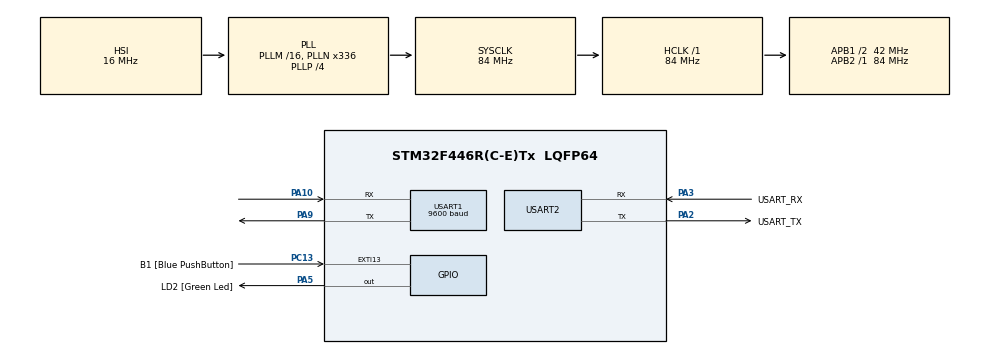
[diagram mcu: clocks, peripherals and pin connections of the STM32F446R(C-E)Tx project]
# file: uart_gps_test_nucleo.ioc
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Dma.Request0=USART1_RX
Dma.USART1_RX.0.Direction=DMA_PERIPH_TO_MEMORY
Dma.USART1_RX.0.FIFOMode=DMA_FIFOMODE_DISABLE
Dma.USART1_RX.0.Instance=DMA2_Stream2
Dma.USART1_RX.0.MemDataAlignment=DMA_MDATAALIGN_BYTE
Dma.USART1_RX.0.MemInc=DMA_MINC_ENABLE
Dma.USART1_RX.0.Mode=DMA_NORMAL
Dma.USART1_RX.0.PeriphDataAlignment=DMA_PDATAALIGN_BYTE
Dma.USART1_RX.0.PeriphInc=DMA_PINC_DISABLE
Dma.USART1_RX.0.Priority=DMA_PRIORITY_LOW
Mcu.Family=STM32F4
Mcu.Name=STM32F446R(C-E)Tx
Mcu.Package=LQFP64
NVIC.DMA2_Stream2_IRQn=true\:0\:0\:false\:false\:true\:false\:true
NVIC.PriorityGroup=NVIC_PRIORITYGROUP_0
PA10.Mode=Asynchronous
PA10.Signal=USART1_RX
PA13.GPIO_Label=TMS
PA13.Mode=Serial_Wire
PA13.Signal=SYS_JTMS-SWDIO
PA14.GPIO_Label=TCK
PA14.Mode=Serial_Wire
PA14.Signal=SYS_JTCK-SWCLK
PA2.GPIO_Label=USART_TX
PA2.Mode=Asynchronous
PA2.Signal=USART2_TX
PA3.GPIO_Label=USART_RX
PA3.Mode=Asynchronous
PA3.Signal=USART2_RX
PA5.GPIO_Label=LD2 [Green Led]
PA5.Signal=GPIO_Output
PA9.Mode=Asynchronous
PA9.Signal=USART1_TX
PB3.GPIO_Label=SWO
PB3.Signal=SYS_JTDO-SWO
PC13.GPIO_Label=B1 [Blue PushButton]
PC13.GPIO_ModeDefaultEXTI=GPIO_MODE_IT_FALLING
PC13.Signal=GPXTI13
PC14-OSC32_IN.Mode=LSE-External-Oscillator
PC14-OSC32_IN.Signal=RCC_OSC32_IN
PC15-OSC32_OUT.Mode=LSE-External-Oscillator
PC15-OSC32_OUT.Signal=RCC_OSC32_OUT
PH0-OSC_IN.Mode=HSE-External-Oscillator
PH0-OSC_IN.Signal=RCC_OSC_IN
PH1-OSC_OUT.Mode=HSE-External-Oscillator
PH1-OSC_OUT.Signal=RCC_OSC_OUT
ProjectManager.HeapSize=0x200
ProjectManager.StackSize=0x400
ProjectManager.TargetToolchain=STM32CubeIDE
RCC.48MHZClocksFreq_Value=84000000
RCC.AHBFreq_Value=84000000
RCC.APB1CLKDivider=RCC_HCLK_DIV2
RCC.APB1Freq_Value=42000000
RCC.APB1TimFreq_Value=84000000
RCC.APB2Freq_Value=84000000
RCC.APB2TimFreq_Value=84000000
RCC.CortexFreq_Value=84000000
RCC.FLatency-AdvancedSettings=FLASH_LATENCY_2
RCC.HCLKFreq_Value=84000000
RCC.HSE_VALUE=8000000
RCC.HSI_VALUE=16000000
RCC.PLLN=336
RCC.PLLP=RCC_PLLP_DIV4
RCC.SYSCLKFreq_VALUE=84000000
RCC.SYSCLKSource=RCC_SYSCLKSOURCE_PLLCLK
RCC.USBFreq_Value=168000000
RCC.VCOOutputFreq_Value=336000000
USART1.BaudRate=9600
USART1.VirtualMode=VM_ASYNC
USART2.VirtualMode=VM_ASYNC
board=NUCLEO-F446RE

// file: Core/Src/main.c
/* USER CODE BEGIN Header */
/**
  ******************************************************************************
  * @file           : main.c
  * @brief          : Main program body
  ******************************************************************************
  * @attention
  *
  * Copyright (c) 2022 STMicroelectronics.
  * All rights reserved.
  *
  * This software is licensed under terms that can be found in the LICENSE file
  * in the root directory of this software component.
  * If no LICENSE file comes with this software, it is provided AS-IS.
  *
  ******************************************************************************
  */
/* USER CODE END Header */
#include "main.h"

/* USER CODE BEGIN Includes */
#include <string.h>
#include <stdio.h>

/* USER CODE END Includes */

/* USER CODE BEGIN PD */
#define RX_BUFFER_SIZE 500
/* USER CODE END PD */

UART_HandleTypeDef huart1;
UART_HandleTypeDef huart2;
DMA_HandleTypeDef hdma_usart1_rx;

void SystemClock_Config(void);
static void MX_GPIO_Init(void);
static void MX_USART2_UART_Init(void);
static void MX_DMA_Init(void);
static void MX_USART1_UART_Init(void);

/* USER CODE BEGIN 0 */
uint8_t rxBuffer[RX_BUFFER_SIZE];
char uartBuffer[200];
char temp[RX_BUFFER_SIZE];

/* USER CODE END 0 */

int main(void)
{

  /* MCU Configuration--------------------------------------------------------*/

  /* Reset of all peripherals, Initializes the Flash interface and the Systick. */
  HAL_Init();

  /* Configure the system clock */
  SystemClock_Config();

  /* Initialize all configured peripherals */
  MX_GPIO_Init();
  MX_USART2_UART_Init();
  MX_DMA_Init();
  MX_USART1_UART_Init();
  /* USER CODE BEGIN 2 */
  HAL_UART_Receive_DMA(&huart1, rxBuffer, RX_BUFFER_SIZE);
  /* USER CODE END 2 */

  /* Infinite loop */
  /* USER CODE BEGIN WHILE */
  while (1)
  {
//	  sprintf(uartBuffer, "Hello\r\n");
//	  HAL_UART_Transmit(&huart2, (uint8_t*) uartBuffer, strlen(uartBuffer), HAL_MAX_DELAY);
//	  HAL_Delay(400);
//
//	  HAL_UART_Receive (&huart1, rxBuffer, 200, 5000);
//	  HAL_Delay(400);
//	  HAL_UART_Transmit(&huart2, rxBuffer, 200, HAL_MAX_DELAY);
//	  HAL_Delay(400);
    /* USER CODE END WHILE */

  }
}

void SystemClock_Config(void)
{
  RCC_OscInitTypeDef RCC_OscInitStruct = {0};
  RCC_ClkInitTypeDef RCC_ClkInitStruct = {0};

  /** Configure the main internal regulator output voltage
  */
  __HAL_RCC_PWR_CLK_ENABLE();
  __HAL_PWR_VOLTAGESCALING_CONFIG(PWR_REGULATOR_VOLTAGE_SCALE3);
  /** Initializes the RCC Oscillators according to the specified parameters
  * in the RCC_OscInitTypeDef structure.
  */
  RCC_OscInitStruct.OscillatorType = RCC_OSCILLATORTYPE_HSI;
  RCC_OscInitStruct.HSIState = RCC_HSI_ON;
  RCC_OscInitStruct.HSICalibrationValue = RCC_HSICALIBRATION_DEFAULT;
  RCC_OscInitStruct.PLL.PLLState = RCC_PLL_ON;
  RCC_OscInitStruct.PLL.PLLSource = RCC_PLLSOURCE_HSI;
  RCC_OscInitStruct.PLL.PLLM = 16;
  RCC_OscInitStruct.PLL.PLLN = 336;
  RCC_OscInitStruct.PLL.PLLP = RCC_PLLP_DIV4;
  RCC_OscInitStruct.PLL.PLLQ = 2;
  RCC_OscInitStruct.PLL.PLLR = 2;
  if (HAL_RCC_OscConfig(&RCC_OscInitStruct) != HAL_OK)
  {
    Error_Handler();
  }
  /** Initializes the CPU, AHB and APB buses clocks
  */
  RCC_ClkInitStruct.ClockType = RCC_CLOCKTYPE_HCLK|RCC_CLOCKTYPE_SYSCLK
                              |RCC_CLOCKTYPE_PCLK1|RCC_CLOCKTYPE_PCLK2;
  RCC_ClkInitStruct.SYSCLKSource = RCC_SYSCLKSOURCE_PLLCLK;
  RCC_ClkInitStruct.AHBCLKDivider = RCC_SYSCLK_DIV1;
  RCC_ClkInitStruct.APB1CLKDivider = RCC_HCLK_DIV2;
  RCC_ClkInitStruct.APB2CLKDivider = RCC_HCLK_DIV1;

  if (HAL_RCC_ClockConfig(&RCC_ClkInitStruct, FLASH_LATENCY_2) != HAL_OK)
  {
    Error_Handler();
  }
}

static void MX_USART1_UART_Init(void)
{

  huart1.Instance = USART1;
  huart1.Init.BaudRate = 9600;
  huart1.Init.WordLength = UART_WORDLENGTH_8B;
  huart1.Init.StopBits = UART_STOPBITS_1;
  huart1.Init.Parity = UART_PARITY_NONE;
  huart1.Init.Mode = UART_MODE_TX_RX;
  huart1.Init.HwFlowCtl = UART_HWCONTROL_NONE;
  huart1.Init.OverSampling = UART_OVERSAMPLING_16;
  if (HAL_UART_Init(&huart1) != HAL_OK)
  {
    Error_Handler();
  }

}

static void MX_USART2_UART_Init(void)
{

  huart2.Instance = USART2;
  huart2.Init.BaudRate = 115200;
  huart2.Init.WordLength = UART_WORDLENGTH_8B;
  huart2.Init.StopBits = UART_STOPBITS_1;
  huart2.Init.Parity = UART_PARITY_NONE;
  huart2.Init.Mode = UART_MODE_TX_RX;
  huart2.Init.HwFlowCtl = UART_HWCONTROL_NONE;
  huart2.Init.OverSampling = UART_OVERSAMPLING_16;
  if (HAL_UART_Init(&huart2) != HAL_OK)
  {
    Error_Handler();
  }

}

static void MX_DMA_Init(void)
{

  /* DMA controller clock enable */
  __HAL_RCC_DMA2_CLK_ENABLE();

  /* DMA interrupt init */
  /* DMA2_Stream2_IRQn interrupt configuration */
  HAL_NVIC_SetPriority(DMA2_Stream2_IRQn, 0, 0);
  HAL_NVIC_EnableIRQ(DMA2_Stream2_IRQn);

}

static void MX_GPIO_Init(void)
{
  GPIO_InitTypeDef GPIO_InitStruct = {0};

  /* GPIO Ports Clock Enable */
  __HAL_RCC_GPIOC_CLK_ENABLE();
  __HAL_RCC_GPIOH_CLK_ENABLE();
  __HAL_RCC_GPIOA_CLK_ENABLE();
  __HAL_RCC_GPIOB_CLK_ENABLE();

  /*Configure GPIO pin Output Level */
  HAL_GPIO_WritePin(LD2_GPIO_Port, LD2_Pin, GPIO_PIN_RESET);

  /*Configure GPIO pin : B1_Pin */
  GPIO_InitStruct.Pin = B1_Pin;
  GPIO_InitStruct.Mode = GPIO_MODE_IT_FALLING;
  GPIO_InitStruct.Pull = GPIO_NOPULL;
  HAL_GPIO_Init(B1_GPIO_Port, &GPIO_InitStruct);

  /*Configure GPIO pin : LD2_Pin */
  GPIO_InitStruct.Pin = LD2_Pin;
  GPIO_InitStruct.Mode = GPIO_MODE_OUTPUT_PP;
  GPIO_InitStruct.Pull = GPIO_NOPULL;
  GPIO_InitStruct.Speed = GPIO_SPEED_FREQ_LOW;
  HAL_GPIO_Init(LD2_GPIO_Port, &GPIO_InitStruct);

}

/* USER CODE BEGIN 4 */
void HAL_UART_RxCpltCallback(UART_HandleTypeDef *huart){
//	sprintf(uartBuffer, "\r\n\r\nRECEIVED:\r\n\r\n");
//	HAL_UART_Transmit(&huart2, (uint8_t *)uartBuffer, strlen(uartBuffer), HAL_MAX_DELAY);
//	HAL_UART_Transmit(&huart2, rxBuffer, RX_BUFFER_SIZE, HAL_MAX_DELAY);
	char *ret = strstr((char*)rxBuffer, "GPRMC") + 6;
	char tmp[39];
	memcpy(tmp, ret, 38);
	tmp[38] = '\0';
	char time[10]; time[9] = '\0';
	char hour[3]; hour[2] = '\0';
	char minute[3]; minute[2] = '\0';
	char status;
	char longitude[13]; longitude[12] = '\0';
	char latitude[14]; latitude[13] = '\0';

	memcpy(time, tmp, 9);
	memcpy(hour, time, 2);
	memcpy(minute, time+2, 2);
	status = tmp[10];
	memcpy(longitude, tmp+12, 12);
	memcpy(latitude, tmp+25, 13);
//	for(int i = 0; i < 9; i++ ){
//		time[i] = *ret;
//		ret++;
//	}
//	ret++;
//	status = *ret;
//	ret++;
//	for(int i = 0; i < 12; i++ ){
//		longitude[i] = *ret;
//		ret++;
//	}
//	ret++;
//	for(int i = 0; i < 13; i++ ){
//		latitude[i] = *ret;
//		ret++;
//	}

//	char hour[2], minute[2];
//	memcpy(hour, time, 2);
//	memcpy(minute, time+2, 2);

	sprintf(uartBuffer, "\r\n\r\n time: %s:%s  long: %s  lat: %s \r\n\r\n", hour, minute, longitude, latitude);
	HAL_UART_Transmit(&huart2, (uint8_t *)uartBuffer, strlen(uartBuffer), HAL_MAX_DELAY);

	HAL_UART_Receive_DMA(&huart1, rxBuffer, RX_BUFFER_SIZE);
}

/* USER CODE END 4 */

void Error_Handler(void)
{
  __disable_irq();
  while (1)
  {
  }
}
